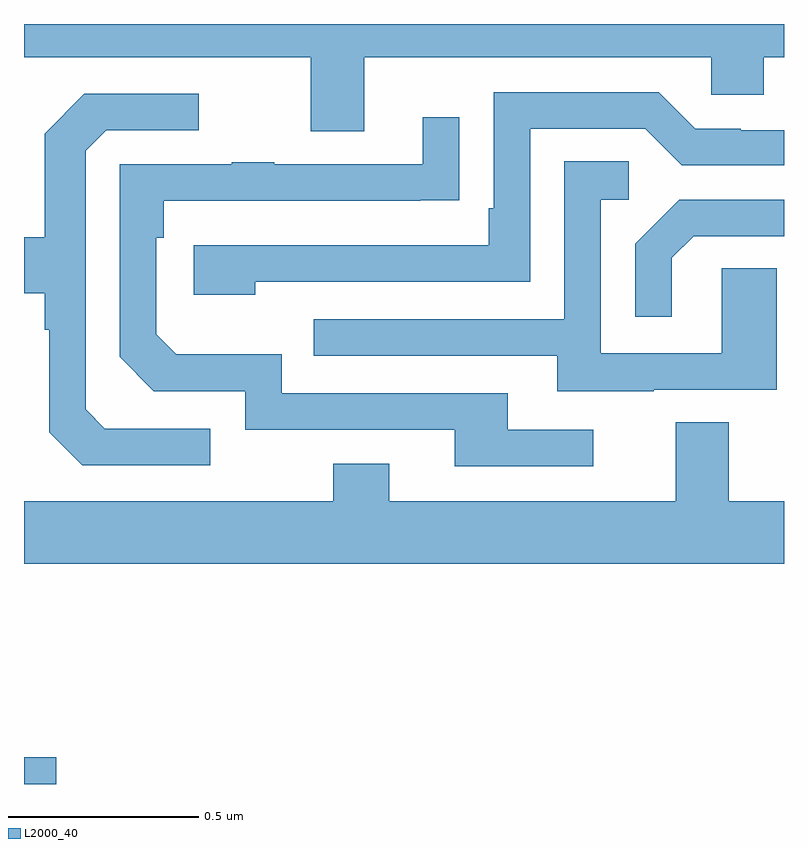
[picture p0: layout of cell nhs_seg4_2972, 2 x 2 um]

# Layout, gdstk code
import gdstk
lib = gdstk.Library(unit=1e-6, precision=1e-09)
def R(c, l, rs):  # rectangles x0, y0, x1, y1
    for r in rs: c.add(gdstk.rectangle(r[:2], r[2:], *l))
def P(c, l, *ps):  # polygons
    for p in ps: c.add(gdstk.Polygon(p, *l))
L2000_40 = (2000, 40)

nhs_seg4_2972 = lib.new_cell('nhs_seg4_2972')
R(nhs_seg4_2972, L2000_40, [(147,802.9,147.085,802.97)])
P(nhs_seg4_2972, L2000_40, [(147.895,804.812),(148.809,804.812),(148.809,804.714),(148.947,804.714),(148.947,804.812),(149,804.812),(149,804.9),(147,804.9),(147,804.812),(147.755,804.812),(147.755,804.618),(147.895,804.618)],
  [(147.608,804.222),(148.332,804.222),(148.332,804.624),(148.635,804.624),(148.731,804.528),(149,804.528),(149,804.621),(148.886,804.621),(148.886,804.624),(148.767,804.624),(148.671,804.72),(148.236,804.72),(148.236,804.415),(148.223,804.415),(148.223,804.318),(147.447,804.318),(147.447,804.188),(147.608,804.188)],
  [(147.49,803.835),(147.213,803.835),(147.162,803.886),(147.162,804.567),(147.216,804.621),(147.46,804.621),(147.46,804.717),(147.159,804.717),(147.054,804.611),(147.054,804.339),(147,804.339),(147,804.191),(147.054,804.191),(147.054,804.095),(147.066,804.095),(147.066,803.826),(147.153,803.739),(147.49,803.739)],
  [(148.498,803.832),(148.273,803.832),(148.273,803.928),(147.678,803.928),(147.678,804.031),(147.401,804.031),(147.348,804.084),(147.348,804.338),(147.368,804.338),(147.368,804.435),(148.043,804.435),(148.043,804.436),(148.145,804.436),(148.145,804.655),(148.049,804.655),(148.049,804.531),(147.659,804.531),(147.659,804.536),(147.547,804.536),(147.547,804.531),(147.252,804.531),(147.252,804.024),(147.342,803.934),(147.582,803.934),(147.582,803.832),(148.133,803.832),(148.133,803.736),(148.498,803.736)],
  [(148.657,803.937),(148.981,803.937),(148.981,804.257),(148.836,804.257),(148.836,804.033),(148.518,804.033),(148.518,804.438),(148.591,804.438),(148.591,804.539),(148.422,804.539),(148.422,804.123),(147.763,804.123),(147.763,804.027),(148.403,804.027),(148.403,803.933),(148.657,803.933)],
  [(148.705,804.285),(148.762,804.342),(149,804.342),(149,804.438),(148.724,804.438),(148.608,804.322),(148.608,804.129),(148.705,804.129)],
  [(149,803.644),(148.855,803.644),(148.855,803.852),(148.715,803.852),(148.715,803.644),(147.961,803.644),(147.961,803.743),(147.814,803.743),(147.814,803.644),(147,803.644),(147,803.48),(149,803.48)])

lib.write_gds('nhs_seg4_2972.gds')
